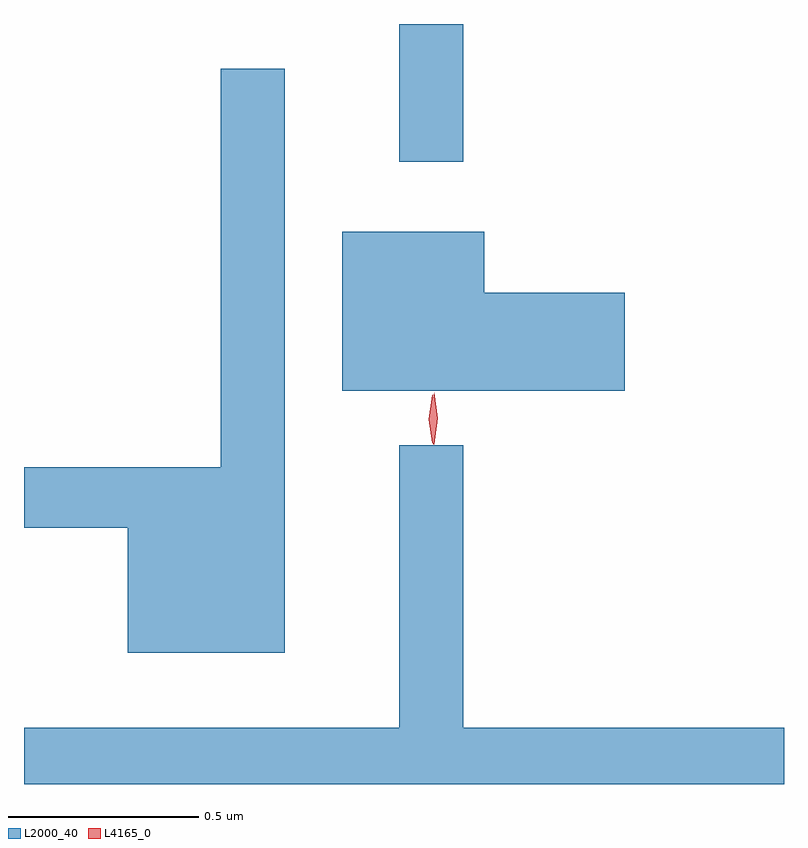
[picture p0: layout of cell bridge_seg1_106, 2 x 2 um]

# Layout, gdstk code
import gdstk
lib = gdstk.Library(unit=1e-6, precision=1e-09)
def R(c, l, rs):  # rectangles x0, y0, x1, y1
    for r in rs: c.add(gdstk.rectangle(r[:2], r[2:], *l))
def P(c, l, *ps):  # polygons
    for p in ps: c.add(gdstk.Polygon(p, *l))
L2000_40 = (2000, 40)
L4165_0 = (4165, 0)

bridge_seg1_106 = lib.new_cell('bridge_seg1_106')
R(bridge_seg1_106, L2000_40, [(1289.381,881.353,1289.549,881.716)])
P(bridge_seg1_106, L2000_40, [(1289.079,881.598),(1288.911,881.598),(1288.911,880.549),(1288.393,880.549),(1288.393,880.391),(1288.666,880.391),(1288.666,880.061),(1289.079,880.061)],
  [(1289.974,881.009),(1289.604,881.009),(1289.604,881.169),(1289.231,881.169),(1289.231,880.751),(1289.974,880.751)],
  [(1290.393,879.864),(1289.549,879.864),(1289.549,880.608),(1289.381,880.608),(1289.381,879.864),(1288.393,879.864),(1288.393,879.716),(1290.393,879.716)])
P(bridge_seg1_106, L4165_0, [(1289.47,880.61),(1289.462,880.678),(1289.472,880.745),(1289.473,880.746),(1289.473,880.745),(1289.482,880.678),(1289.472,880.61),(1289.471,880.61)],
  [(1289.468,880.613),(1289.467,880.614),(1289.458,880.676),(1289.467,880.739),(1289.468,880.74),(1289.468,880.739),(1289.478,880.676),(1289.468,880.614)])

lib.write_gds('bridge_seg1_106.gds')
